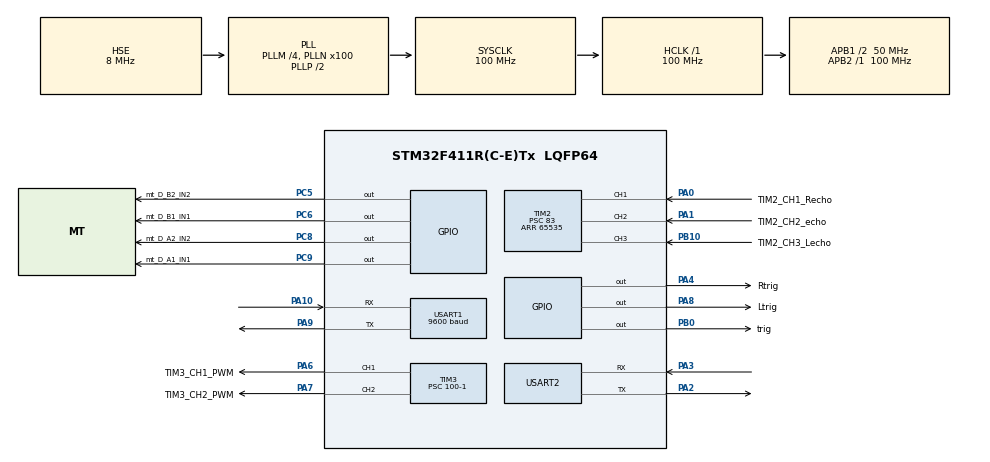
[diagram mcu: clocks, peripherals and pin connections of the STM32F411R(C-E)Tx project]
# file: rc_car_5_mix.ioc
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Mcu.Family=STM32F4
Mcu.Name=STM32F411R(C-E)Tx
Mcu.Package=LQFP64
NVIC.PriorityGroup=NVIC_PRIORITYGROUP_4
NVIC.TIM2_IRQn=true\:0\:0\:false\:false\:true\:true\:true\:true
NVIC.USART1_IRQn=true\:0\:0\:false\:false\:true\:true\:true\:true
NVIC.USART2_IRQn=true\:0\:0\:false\:false\:true\:true\:true\:true
PA0-WKUP.GPIO_Label=TIM2_CH1_Recho
PA0-WKUP.Signal=S_TIM2_CH1_ETR
PA1.GPIO_Label=TIM2_CH2_echo
PA1.Signal=S_TIM2_CH2
PA10.Mode=Asynchronous
PA10.Signal=USART1_RX
PA13.Mode=Serial_Wire
PA13.Signal=SYS_JTMS-SWDIO
PA14.Mode=Serial_Wire
PA14.Signal=SYS_JTCK-SWCLK
PA2.Mode=Asynchronous
PA2.Signal=USART2_TX
PA3.Mode=Asynchronous
PA3.Signal=USART2_RX
PA4.GPIO_Label=Rtrig
PA4.Signal=GPIO_Output
PA6.GPIO_Label=TIM3_CH1_PWM
PA6.Signal=S_TIM3_CH1
PA7.GPIO_Label=TIM3_CH2_PWM
PA7.Signal=S_TIM3_CH2
PA8.GPIO_Label=Ltrig
PA8.Signal=GPIO_Output
PA9.Mode=Asynchronous
PA9.Signal=USART1_TX
PB0.GPIO_Label=trig
PB0.Signal=GPIO_Output
PB10.GPIO_Label=TIM2_CH3_Lecho
PB10.Signal=S_TIM2_CH3
PC5.GPIO_Label=mt_D_B2_IN2
PC5.Signal=GPIO_Output
PC6.GPIO_Label=mt_D_B1_IN1
PC6.Signal=GPIO_Output
PC8.GPIO_Label=mt_D_A2_IN2
PC8.Signal=GPIO_Output
PC9.GPIO_Label=mt_D_A1_IN1
PC9.Signal=GPIO_Output
PH0\ -\ OSC_IN.Mode=HSE-External-Oscillator
PH0\ -\ OSC_IN.Signal=RCC_OSC_IN
PH1\ -\ OSC_OUT.Mode=HSE-External-Oscillator
PH1\ -\ OSC_OUT.Signal=RCC_OSC_OUT
ProjectManager.HeapSize=0x200
ProjectManager.StackSize=0x400
ProjectManager.TargetToolchain=STM32CubeIDE
RCC.48MHZClocksFreq_Value=50000000
RCC.AHBFreq_Value=100000000
RCC.APB1CLKDivider=RCC_HCLK_DIV2
RCC.APB1Freq_Value=50000000
RCC.APB1TimFreq_Value=100000000
RCC.APB2Freq_Value=100000000
RCC.APB2TimFreq_Value=100000000
RCC.CortexFreq_Value=100000000
RCC.HCLKFreq_Value=100000000
RCC.HSE_VALUE=8000000
RCC.HSI_VALUE=16000000
RCC.LSE_VALUE=32768
RCC.PLLM=4
RCC.PLLN=100
RCC.PLLSourceVirtual=RCC_PLLSOURCE_HSE
RCC.SYSCLKFreq_VALUE=100000000
RCC.SYSCLKSource=RCC_SYSCLKSOURCE_PLLCLK
RCC.VCOOutputFreq_Value=200000000
SH.S_TIM2_CH1_ETR.0=TIM2_CH1,Input_Capture1_from_TI1
SH.S_TIM2_CH2.0=TIM2_CH2,Input_Capture2_from_TI2
SH.S_TIM2_CH3.0=TIM2_CH3,Input_Capture3_from_TI3
SH.S_TIM3_CH1.0=TIM3_CH1,PWM Generation1 CH1
SH.S_TIM3_CH2.0=TIM3_CH2,PWM Generation2 CH2
TIM11.Prescaler=100-1
TIM2.Channel-Input_Capture1_from_TI1=TIM_CHANNEL_1
TIM2.Channel-Input_Capture2_from_TI2=TIM_CHANNEL_2
TIM2.Channel-Input_Capture3_from_TI3=TIM_CHANNEL_3
TIM2.Period=65535
TIM2.Prescaler=83
TIM3.Channel-PWM\ Generation1\ CH1=TIM_CHANNEL_1
TIM3.Channel-PWM\ Generation2\ CH2=TIM_CHANNEL_2
TIM3.Period=1000-1
TIM3.Prescaler=100-1
USART1.BaudRate=9600
USART1.VirtualMode=VM_ASYNC
USART2.VirtualMode=VM_ASYNC
VP_TIM11_VS_ClockSourceINT.Mode=Enable_Timer
VP_TIM2_VS_ClockSourceINT.Mode=Internal
VP_TIM3_VS_ClockSourceINT.Mode=Internal
board=custom

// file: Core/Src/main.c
/* USER CODE BEGIN Header */
/**
  ******************************************************************************
  * @file           : main.c
  * @brief          : Ultrasonic 3 sensors (TIM2 IC) + Bluetooth(UART1) + Auto drive
  ******************************************************************************
  */
/* USER CODE END Header */
#include "main.h"
#include "tim.h"
#include "usart.h"
#include "gpio.h"

/* USER CODE BEGIN Includes */
#include "ult.h"
#include "delay.h"
#include "auto.h"
#include "mot.h"
#include "bt.h"
#include <stdio.h>
/* USER CODE END Includes */

/* USER CODE BEGIN PD */
#define TRIG_PERIOD_MS   35    // ✅ 35ms마다 1회 트리거 (간섭 있으면 40)
#define AUTO_WARM_MS     400
/* USER CODE END PD */

/* USER CODE BEGIN PM */
#ifdef __GNUC__
#define PUTCHAR_PROTOTYPE int __io_putchar(int ch)
#else
#define PUTCHAR_PROTOTYPE int fputc(int ch, FILE *f)
#endif

PUTCHAR_PROTOTYPE
{
  if(ch == '\n')
    HAL_UART_Transmit(&huart1, (uint8_t*)"\r", 1, 0xFFFF);
  HAL_UART_Transmit(&huart1, (uint8_t*)&ch, 1, 0xFFFF);
  return ch;
}
/* USER CODE END PM */

/* USER CODE BEGIN PV */
static uint8_t bt_rx = 0;
/* USER CODE END PV */

void SystemClock_Config(void);
/* USER CODE BEGIN PFP */
void HAL_UART_RxCpltCallback(UART_HandleTypeDef *huart)
{
    if (huart->Instance == USART1)
    {
        BT_OnRxByte(bt_rx);
        HAL_UART_Receive_IT(&huart1, &bt_rx, 1);
    }
}

void HAL_TIM_IC_CaptureCallback(TIM_HandleTypeDef *htim)
{
    ULT_TIM_IC_CaptureCallback(htim);
}
/* USER CODE END PFP */

int main(void)
{

  /* MCU Configuration--------------------------------------------------------*/

  /* Reset of all peripherals, Initializes the Flash interface and the Systick. */
  HAL_Init();

  /* Configure the system clock */
  SystemClock_Config();

  /* Initialize all configured peripherals */
  MX_GPIO_Init();
  MX_USART2_UART_Init();
  MX_TIM3_Init();
  MX_USART1_UART_Init();
  MX_TIM2_Init();
  MX_TIM11_Init();
  /* USER CODE BEGIN 2 */
  BT_Init();
  HAL_UART_Receive_IT(&huart1, &bt_rx, 1);

  HAL_TIM_PWM_Start(&htim3, TIM_CHANNEL_1);
  HAL_TIM_PWM_Start(&htim3, TIM_CHANNEL_2);
  __HAL_TIM_SET_COMPARE(&htim3, TIM_CHANNEL_1, 0);
  __HAL_TIM_SET_COMPARE(&htim3, TIM_CHANNEL_2, 0);

  HAL_TIM_Base_Start(&htim11);

  ULT_Init();

  printf("\r\nBOOT OK\r\n");
  /* USER CODE END 2 */

  /* Infinite loop */
  /* USER CODE BEGIN WHILE */
  static uint32_t last_trig_ms = 0;
  static uint32_t auto_warm_until = 0;

  static uint16_t d_left=0, d_front=0, d_right=0;

  static DriveMode_t last_mode = MODE_MANUAL;

  static uint32_t last_dbg_ms = 0;
  static uint32_t last_manual_ms = 0;

  // ✅ 전방을 더 자주: F-F-L-F-R
  static const uint8_t trig_seq[5] = {1, 1, 0, 1, 2};
  static uint8_t seq_i = 0;

  while (1)
  {
      uint32_t now = HAL_GetTick();

      BT_Process();
      DriveMode_t mode = BT_GetMode();

      if (mode != last_mode)
      {
          Mot_Stop();

          if (mode == MODE_AUTO)
          {
              Auto_Init();
              d_left = d_front = d_right = 0;

              seq_i = 0;
              last_trig_ms = now;
              auto_warm_until = now + AUTO_WARM_MS;

              printf("[MODE] AUTO\r\n");
          }
          else
          {
              printf("[MODE] MANUAL\r\n");
          }

          last_mode = mode;
      }

      if (mode == MODE_AUTO)
      {
          if (now < auto_warm_until)
          {
              Mot_Stop();
              continue;
          }

          // (1) 트리거
          if (now - last_trig_ms >= TRIG_PERIOD_MS)
          {
              last_trig_ms = now;
              ULT_Trigger(trig_seq[seq_i]);
              seq_i = (seq_i + 1) % 5;
          }

          // (2) 타임아웃 처리
          ULT_Update();

          // (3) 거리 갱신 (0도 갱신)
          if (ULT_IsReady(0)) { d_left  = ULT_GetDistance(0); ULT_ClearReady(0); }
          if (ULT_IsReady(1)) { d_front = ULT_GetDistance(1); ULT_ClearReady(1); }
          if (ULT_IsReady(2)) { d_right = ULT_GetDistance(2); ULT_ClearReady(2); }

          // (4) 자율주행
          Auto_Update(d_left, d_front, d_right);

          // (5) 디버그
          if (now - last_dbg_ms >= 500)
          {
              last_dbg_ms = now;
              uint32_t arr  = __HAL_TIM_GET_AUTORELOAD(&htim3);
              uint32_t ccr1 = __HAL_TIM_GET_COMPARE(&htim3, TIM_CHANNEL_1);
              uint32_t ccr2 = __HAL_TIM_GET_COMPARE(&htim3, TIM_CHANNEL_2);

              printf("[AUTO] L:%u F:%u R:%u | ARR:%lu CCR1:%lu CCR2:%lu\r\n",
                     d_left, d_front, d_right,
                     (unsigned long)arr, (unsigned long)ccr1, (unsigned long)ccr2);
          }
      }
      else
      {
          if (now - last_manual_ms >= 400)
          {
              last_manual_ms = now;
              printf("[MANUAL]\r\n");
          }
      }
  }
    /* USER CODE END WHILE */

}

void SystemClock_Config(void)
{
  RCC_OscInitTypeDef RCC_OscInitStruct = {0};
  RCC_ClkInitTypeDef RCC_ClkInitStruct = {0};

  /** Configure the main internal regulator output voltage
  */
  __HAL_RCC_PWR_CLK_ENABLE();
  __HAL_PWR_VOLTAGESCALING_CONFIG(PWR_REGULATOR_VOLTAGE_SCALE1);

  /** Initializes the RCC Oscillators according to the specified parameters
  * in the RCC_OscInitTypeDef structure.
  */
  RCC_OscInitStruct.OscillatorType = RCC_OSCILLATORTYPE_HSE;
  RCC_OscInitStruct.HSEState = RCC_HSE_ON;
  RCC_OscInitStruct.PLL.PLLState = RCC_PLL_ON;
  RCC_OscInitStruct.PLL.PLLSource = RCC_PLLSOURCE_HSE;
  RCC_OscInitStruct.PLL.PLLM = 4;
  RCC_OscInitStruct.PLL.PLLN = 100;
  RCC_OscInitStruct.PLL.PLLP = RCC_PLLP_DIV2;
  RCC_OscInitStruct.PLL.PLLQ = 4;
  if (HAL_RCC_OscConfig(&RCC_OscInitStruct) != HAL_OK)
  {
    Error_Handler();
  }

  /** Initializes the CPU, AHB and APB buses clocks
  */
  RCC_ClkInitStruct.ClockType = RCC_CLOCKTYPE_HCLK|RCC_CLOCKTYPE_SYSCLK
                              |RCC_CLOCKTYPE_PCLK1|RCC_CLOCKTYPE_PCLK2;
  RCC_ClkInitStruct.SYSCLKSource = RCC_SYSCLKSOURCE_PLLCLK;
  RCC_ClkInitStruct.AHBCLKDivider = RCC_SYSCLK_DIV1;
  RCC_ClkInitStruct.APB1CLKDivider = RCC_HCLK_DIV2;
  RCC_ClkInitStruct.APB2CLKDivider = RCC_HCLK_DIV1;

  if (HAL_RCC_ClockConfig(&RCC_ClkInitStruct, FLASH_LATENCY_3) != HAL_OK)
  {
    Error_Handler();
  }
}

void Error_Handler(void)
{
  __disable_irq();
  while (1)
  {
  }
}
#ifdef USE_FULL_ASSERT
/**
  * @brief  Reports the name of the source file and the source line number
  *         where the assert_param error has occurred.
  * @param  file: pointer to the source file name
  * @param  line: assert_param error line source number
  * @retval None
  */
void assert_failed(uint8_t *file, uint32_t line)
{
  /* USER CODE BEGIN 6 */
//  /* User can add his own implementation to report the file name and line number,
//     ex: printf("Wrong parameters value: file %s on line %d\r\n", file, line) */
  /* USER CODE END 6 */
}
#endif /* USE_FULL_ASSERT */
